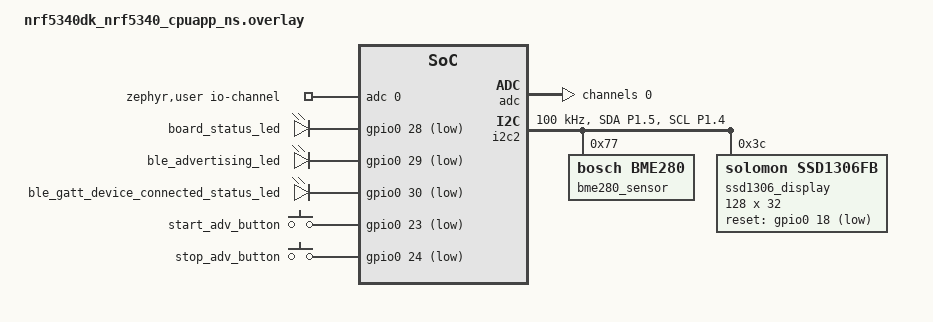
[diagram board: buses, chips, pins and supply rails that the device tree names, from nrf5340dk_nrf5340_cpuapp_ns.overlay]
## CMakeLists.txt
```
cmake_minimum_required(VERSION 3.20.0)
find_package(Zephyr REQUIRED HINTS $ENV{ZEPHYR_BASE})

find_package(Doxygen)
if (DOXYGEN_FOUND)
    add_custom_target(docs
        COMMAND ${DOXYGEN_EXECUTABLE} ${CMAKE_CURRENT_SOURCE_DIR}/Doxyfile
        WORKING_DIRECTORY ${CMAKE_CURRENT_SOURCE_DIR}
        COMMENT "Generating API documentation with Doxygen"
        VERBATIM)
endif()
# list(APPEND CMAKE_MODULE_PATH ${ZEPHYR_BASE}/modules/nanopb)
# include(nanopb)

project(nrf5340Playground LANGUAGES C CXX ASM)
# set(CMAKE_C_STANDARD 11)
# set(CMAKE_C_STANDARD_REQUIRED ON)
# set(CMAKE_C_EXTENSIONS ON)

add_subdirectory(src/lib)
target_sources(app PRIVATE src/main.c)
target_include_directories(app PRIVATE .)
target_link_libraries(app PUBLIC custom_lib)
```

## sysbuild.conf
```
SB_CONFIG_NETCORE_IPC_RADIO=y
SB_CONFIG_NETCORE_IPC_RADIO_BT_HCI_IPC=y
```

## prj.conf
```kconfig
#SYSTEM
CONFIG_LOG=y
CONFIG_LOG_DEFAULT_LEVEL=4
CONFIG_MAIN_STACK_SIZE=2048
CONFIG_FPU=y
CONFIG_CBPRINTF_FP_SUPPORT=y
#PERIPHERALS
# CONFIG_ADC=y
# CONFIG_ADC_LOG_LEVEL_DBG=y
CONFIG_I2C=y
CONFIG_SENSOR=y
CONFIG_BME280=y
CONFIG_BME280_STANDBY_500MS=y
CONFIG_SENSOR_LOG_LEVEL_DBG=y

# ZBUS
CONFIG_ZBUS=y
CONFIG_ZBUS_LOG_LEVEL_DBG=y


#BLUETOOTH
CONFIG_BT=y
CONFIG_BT_HCI_ERR_TO_STR=y
CONFIG_BT_PERIPHERAL=y
CONFIG_BT_CENTRAL=n
CONFIG_BT_OBSERVER=n
CONFIG_BT_DEVICE_NAME="NRF5340Dev"
CONFIG_BT_GATT_CACHING=y
CONFIG_BT_GATT_SERVICE_CHANGED=y
CONFIG_BT_MAX_CONN=5
# CONFIG_BT_BUF_ACL_RX_COUNT=10
CONFIG_BT_BUF_ACL_TX_COUNT=15
CONFIG_BT_BUF_EVT_RX_COUNT=16
CONFIG_BT_HCI_ACL_FLOW_CONTROL=y
```

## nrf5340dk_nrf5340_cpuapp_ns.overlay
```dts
// To get started, press Ctrl+Space to bring up the completion menu and view the available nodes.

// You can also use the buttons in the sidebar to perform actions on nodes.
// Actions currently available include:

// * Enabling / disabling the node
// * Adding the bus to a bus
// * Removing the node
// * Connecting ADC channels

// For more help, browse the DeviceTree documentation at https://docs.zephyrproject.org/latest/guides/dts/index.html
// You can also visit the nRF DeviceTree extension documentation at https://docs.nordicsemi.com/bundle/nrf-connect-vscode/page/guides/ncs_configure_app.html#devicetree-support-in-the-extension

/{
    zephyr,user {
        board-name = "nrf5340Playground";
        io-channels = <&adc 0>;
    };
    chosen{
        zephyr,display = &ssd1306_display;
    };
    aliases {
        env-sensor = &bme280_sensor;
        oled-display = &ssd1306_display;
    };
        
};
    
&adc {
    status = "okay";
    #address-cells = <1>;
    #size-cells = <0>;

    channel@0 {
        reg = <0>;
        zephyr,gain = "ADC_GAIN_1_6";
        zephyr,reference = "ADC_REF_INTERNAL";
        zephyr,acquisition-time = <0>;
        zephyr,resolution = <12>;
        zephyr,input-positive = <NRF_SAADC_AIN0>;
    };
};

&i2c2 {
    status = "okay";
    pinctrl-0 = <&i2c2_default>;
    pinctrl-1 = <&i2c2_sleep>;
    pinctrl-names = "default", "sleep";
    zephyr,concat-buf-size = <256>;
    bme280_sensor: bme280@77 {
        compatible = "bosch,bme280";
        reg = <0x77>;
        status = "okay";
        friendly-name = "BME280";
    };

    clock-frequency = <I2C_BITRATE_STANDARD>;
    ssd1306_display: ssd1306fb@3c {
        compatible = "solomon,ssd1306fb";
        reg = <0x3c>;
        height = <32>;
        width = <128>;
        segment-offset = <0>;
        page-offset = <0>;
        display-offset = <0>;
        multiplex-ratio = <31>;
        com-sequential;
        com-invdir;
        segment-remap;
        prechargep = <0x22>;
        reset-gpios = <&gpio0 18 GPIO_ACTIVE_LOW>;
    };
};
&led0 {
    label = "board_status_led";
    gpios = <&gpio0 28 GPIO_ACTIVE_LOW>;
};
&led1 {
    label = "ble_advertising_led";
    gpios = <&gpio0 29 GPIO_ACTIVE_LOW>;
};
&led2 {
    label = "ble_gatt_device_connected_status_led";
    gpios = <&gpio0 30 GPIO_ACTIVE_LOW>;
};
&button0 {
    label = "start_adv_button";
    gpios = <&gpio0 23 (GPIO_ACTIVE_LOW | GPIO_PULL_UP)>;
};
&button1 {
    label = "stop_adv_button";
    gpios = <&gpio0 24 (GPIO_ACTIVE_LOW | GPIO_PULL_UP)>;
};






&pinctrl {
    i2c2_default: i2c2_default {
        group1 {
            psels = <NRF_PSEL(TWIM_SDA, 1, 5)>, <NRF_PSEL(TWIM_SCL, 1, 4)>;
            bias-pull-up;
        };
    };

    i2c2_sleep: i2c2_sleep {
        group1 {
            psels = <NRF_PSEL(TWIM_SCL, 1, 4)>, <NRF_PSEL(TWIM_SDA, 1, 5)>;
            low-power-enable;
        };
    };
};
&i2c1 {
    status = "disabled";
};

&spi4 {
    status = "disabled";
};


&qspi {
    status = "disabled";
};

&nfct {
    status = "disabled";
};
```

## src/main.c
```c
#include <zephyr/kernel.h>
#include "main.h"
#include <zephyr/logging/log.h>
#include "lib/gatt_ess.h"
#include "lib/gap.h"
#include "lib/gpios.h"
#include "lib/bme280_mod.h"
#include <zephyr/zbus/zbus.h>

LOG_MODULE_REGISTER(MAIN);

//TODO ZBUS


static void checkInitStatus(int error, const char* message){
    // const char prefix[] = (error == 0) ? "Success": "Failed"; 
    if(!error){
        LOG_INF("Success (code %d) init :  %s",error,message);
    }else{
        LOG_ERR("Failure (code %d) init :  %s",error,message);
    }
}

int main(void)
{
LOG_INF("App started...");
    int ret;
    ret = bt_enable(NULL);
    checkInitStatus(ret,"bt_enable()");
    if(ret) return -1;

    ret = init_gap();
    checkInitStatus(ret,"init_gap()");
    if(ret) return -1;
    
    init_gatt_ess();

    ret = init_gpios();
    checkInitStatus(ret,"init_gpios()");
    if(ret) return -1;
    
    ret = bme280_mod_init();
    checkInitStatus(ret,"bme280_mod_init()");
    if(ret) return -1;
    
    bme280_mod_start();
    k_thread_start(sensor_data_process_thread);
    
    start_adv();

    return 0;
}
```

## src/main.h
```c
#pragma once
#include <zephyr/kernel.h>
#include "lib/gatt_ess.h"
#include "lib/bme280_mod.h"

#define SENSOR_DATA_PROCESS_STACK_SIZE 2048
#define SENSOR_DATA_PROCESS_PRIORITY 7
void sensor_data_process_handler(void);
K_THREAD_DEFINE(sensor_data_process_thread,
    SENSOR_DATA_PROCESS_STACK_SIZE,
    sensor_data_process_handler,
    NULL,
    NULL,
    NULL,
    SENSOR_DATA_PROCESS_PRIORITY,
    K_USER,
    0);

void sensor_data_process_handler(){
    
    static struct bme280_values_t previous_sensor_data;
    struct bme280_values_t current_sensor_data;

    while(1){
    if(k_sem_take(&bme280_data_ready_sem,K_FOREVER) == 0){

        if(bme280_get_latest_data(&current_sensor_data) == 0){
            
            if(bme280_data_has_changed(&previous_sensor_data,&current_sensor_data) == 1){
                previous_sensor_data = current_sensor_data;
                ess_notify();
            }
        }
        
    }

    }
}
```
